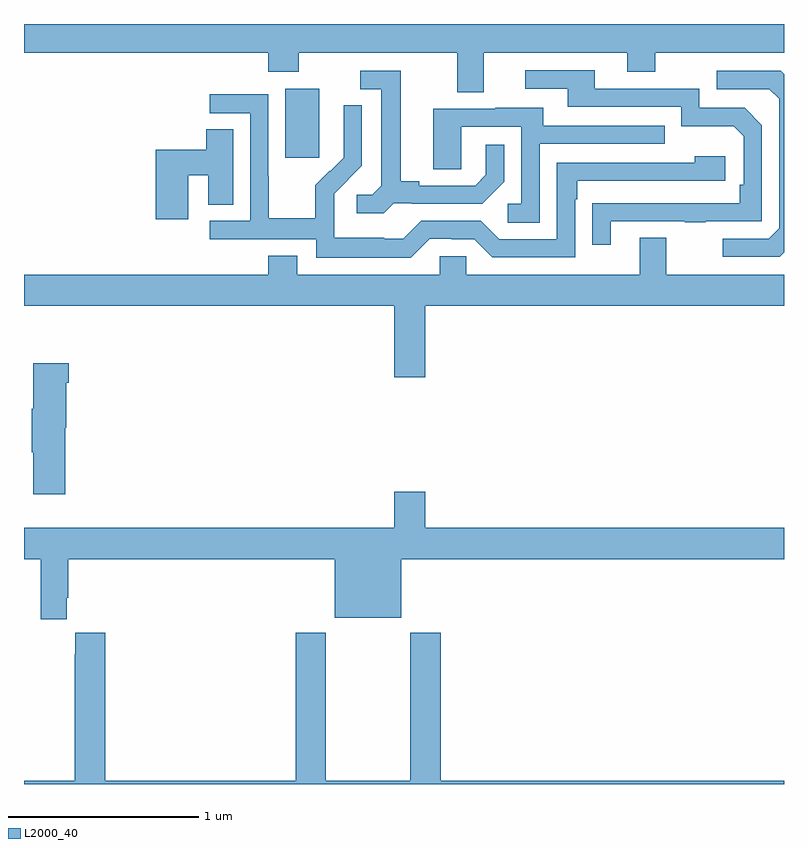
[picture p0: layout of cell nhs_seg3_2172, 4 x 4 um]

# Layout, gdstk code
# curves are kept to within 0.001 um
import gdstk
lib = gdstk.Library(unit=1e-6, precision=1e-09)
def R(c, l, rs):  # rectangles x0, y0, x1, y1
    for r in rs: c.add(gdstk.rectangle(r[:2], r[2:], *l))
def P(c, l, *ps):  # polygons
    for p in ps: c.add(gdstk.Polygon(p, *l))
L2000_40 = (2000, 40)

nhs_seg3_2172 = lib.new_cell('nhs_seg3_2172')
R(nhs_seg3_2172, L2000_40, [(224.375,701.697,224.554,702.058)])
P(nhs_seg3_2172, L2000_40, [(225.421,702.248),(226.175,702.248),(226.175,702.149),(226.323,702.149),(226.323,702.248),(227,702.248),(227,702.4),(223,702.4),(223,702.248),(224.285,702.248),(224.285,702.149),(224.445,702.149),(224.445,702.248),(225.281,702.248),(225.281,702.04),(225.421,702.04)],
  [(226.087,701.361),(226.477,701.361),(226.477,701.356),(226.589,701.356),(226.589,701.361),(226.884,701.361),(226.884,701.868),(226.794,701.958),(226.554,701.958),(226.554,702.06),(226.003,702.06),(226.003,702.156),(225.639,702.156),(225.639,702.06),(225.863,702.06),(225.863,701.964),(226.458,701.964),(226.458,701.861),(226.735,701.861),(226.788,701.808),(226.788,701.554),(226.768,701.554),(226.768,701.457),(225.991,701.456),(225.991,701.238),(226.087,701.238)],
  [(227,701.198),(227,702.136),(226.983,702.153),(226.647,702.153),(226.647,702.057),(226.923,702.057),(226.974,702.006),(226.974,701.325),(226.92,701.271),(226.677,701.271),(226.677,701.175),(226.977,701.175)],
  [(224.946,701.457),(225.04,701.457),(225.04,701.454),(225.412,701.454),(225.528,701.57),(225.528,701.764),(225.431,701.764),(225.431,701.607),(225.374,701.55),(225.079,701.55),(225.079,701.573),(224.983,701.573),(224.983,702.153),(224.769,702.153),(224.769,702.057),(224.879,702.057),(224.879,701.549),(224.832,701.502),(224.751,701.502),(224.751,701.405),(224.894,701.405)],
  [(225.135,701.271),(225.251,701.271),(225.251,701.268),(225.369,701.268),(225.465,701.172),(225.9,701.172),(225.9,701.477),(225.913,701.477),(225.913,701.574),(226.69,701.574),(226.69,701.704),(226.529,701.704),(226.529,701.67),(225.804,701.67),(225.804,701.268),(225.501,701.268),(225.405,701.364),(225.09,701.364),(224.997,701.271),(224.897,701.271),(224.897,701.275),(224.634,701.275),(224.634,701.409),(224.632,701.409),(224.632,701.506),(224.778,701.654),(224.778,701.972),(224.682,701.972),(224.682,701.818),(224.684,701.818),(224.684,701.696),(224.613,701.625),(224.61,701.628),(224.533,701.551),(224.533,701.377),(224.289,701.377),(224.289,701.6),(224.286,701.6),(224.286,702.03),(223.977,702.03),(223.977,701.931),(224.19,701.931),(224.19,701.364),(223.977,701.364),(223.977,701.268),(224.538,701.268),(224.538,701.171),(225.035,701.171)],
  [(225.714,701.769),(226.373,701.769),(226.373,701.865),(225.733,701.865),(225.733,701.959),(225.479,701.959),(225.479,701.955),(225.155,701.955),(225.155,701.635),(225.3,701.635),(225.3,701.859),(225.618,701.859),(225.618,701.454),(225.546,701.454),(225.546,701.353),(225.714,701.353)],
  [(223.864,701.603),(223.97,701.603),(223.97,701.449),(224.101,701.449),(224.101,701.846),(223.958,701.846),(223.958,701.738),(223.694,701.738),(223.694,701.373),(223.864,701.373)],
  [(227,701.08),(226.381,701.08),(226.381,701.275),(226.241,701.275),(226.241,701.08),(225.327,701.08),(225.327,701.178),(225.189,701.178),(225.189,701.08),(224.437,701.08),(224.437,701.179),(224.285,701.179),(224.285,701.08),(223,701.08),(223,700.916),(224.948,700.916),(224.948,700.542),(225.112,700.542),(225.112,700.916),(227,700.916)],
  [(223.217,700.275),(223.222,700.275),(223.222,700.511),(223.235,700.511),(223.235,700.615),(223.049,700.615),(223.049,700.375),(223.042,700.375),(223.042,700.147),(223.049,700.147),(223.049,699.924),(223.217,699.924)],
  [(223.225,699.379),(223.232,699.379),(223.232,699.584),(224.636,699.584),(224.636,699.275),(224.986,699.275),(224.986,699.584),(227,699.584),(227,699.748),(225.112,699.748),(225.112,699.937),(224.948,699.937),(224.948,699.748),(223,699.748),(223,699.584),(223.088,699.584),(223.088,699.267),(223.225,699.267)],
  [(227,698.416),(225.194,698.416),(225.194,699.196),(225.034,699.196),(225.034,698.416),(224.589,698.416),(224.589,699.196),(224.429,699.196),(224.429,698.416),(223.427,698.416),(223.427,699.196),(223.271,699.196),(223.271,699.083),(223.267,699.083),(223.267,698.416),(223,698.416),(223,698.4),(227,698.4)])

lib.write_gds('nhs_seg3_2172.gds')
